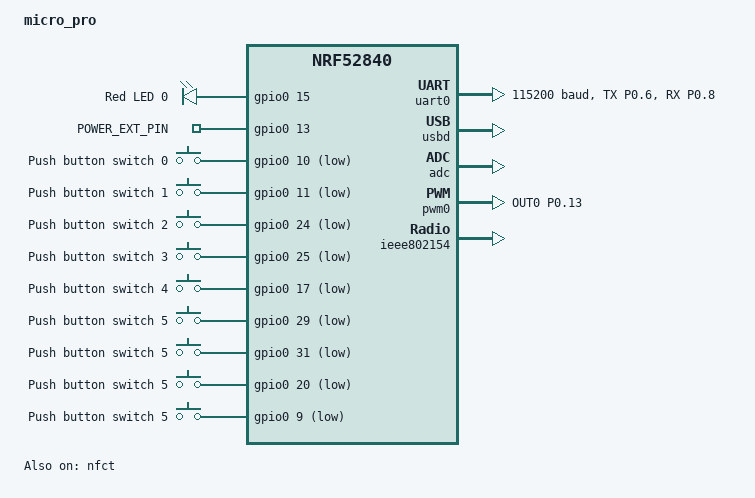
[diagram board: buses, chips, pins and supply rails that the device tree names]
/dts-v1/;

#include <nordic/nrf52840_qiaa.dtsi>
#include "pmicro-pinctrl.dtsi"

/ {
	model = "micro_pro";
	compatible = "micropro,pmicro";

	chosen {
		zephyr,sram = &sram0;
		zephyr,flash = &flash0;
		zephyr,code-partition = &slot0_partition;
		zephyr,console = &uart0;
	};
	leds {
		compatible = "gpio-leds";

		led0: led_0 {
			gpios = <&gpio0 15 GPIO_ACTIVE_HIGH>;
			label = "Red LED 0";
		};
		led1: led_1 {
			gpios = <&gpio0 13 GPIO_ACTIVE_HIGH>;
			label = "POWER_EXT_PIN";
		};
	};
	buttons {
		compatible = "gpio-keys";

		button0: button_0 {
			gpios = <&gpio0 10 (GPIO_PULL_UP | GPIO_ACTIVE_LOW)>;
			label = "Push button switch 0";
			zephyr,code = <INPUT_KEY_0>;
		};

		 button1: button_1 {
		 	gpios = <&gpio0 11 (GPIO_PULL_UP | GPIO_ACTIVE_LOW)>;
		 	label = "Push button switch 1";
		 	zephyr,code = <INPUT_KEY_1>;
		 };

		 button2: button_2 {
		 	gpios = <&gpio0 24 (GPIO_PULL_UP | GPIO_ACTIVE_LOW)>;
		 	label = "Push button switch 2";
		 	zephyr,code = <INPUT_KEY_2>;
		 };

		 button3: button_3 {
		 	gpios = <&gpio0 25 (GPIO_PULL_UP | GPIO_ACTIVE_LOW)>;
		 	label = "Push button switch 3";
		 	zephyr,code = <INPUT_KEY_3>;
		 };
		 button4: button_4 {
		 	gpios = <&gpio0 17 (GPIO_PULL_UP | GPIO_ACTIVE_LOW)>;
		 	label = "Push button switch 4";
		 	zephyr,code = <INPUT_KEY_4>;
		 };
		 button5: button_5 {
		 	gpios = <&gpio0 29 (GPIO_PULL_UP | GPIO_ACTIVE_LOW)>;
		 	label = "Push button switch 5";
		 	zephyr,code = <INPUT_KEY_5>;
		 };
		 button6: button_6 {
		 	gpios = <&gpio0 31 (GPIO_PULL_UP | GPIO_ACTIVE_LOW)>;
		 	label = "Push button switch 5";
		 	zephyr,code = <INPUT_KEY_6>;
		 };
		 button7: button_7 {
		 	gpios = <&gpio0 20 (GPIO_PULL_UP | GPIO_ACTIVE_LOW)>;
		 	label = "Push button switch 5";
		 	zephyr,code = <INPUT_KEY_6>;
		 };
		 button8: button_8 {
		 	gpios = <&gpio0 9 (GPIO_PULL_UP | GPIO_ACTIVE_LOW)>;
		 	label = "Push button switch 5";
		 	zephyr,code = <INPUT_KEY_6>;
		 };
	};
};

&flash0 {
	partitions {
		compatible = "fixed-partitions";
		#address-cells = <1>;
		#size-cells = <1>;

		boot_partition: partition@0 {
			label = "mcuboot";
			reg = <0x0 DT_SIZE_K(48)>;
		};

		slot0_partition: partition@c000 {
			label = "image-0";
			reg = <0xc000 DT_SIZE_K(472)>;
		};

		slot1_partition: partition@82000 {
			label = "image-1";
			reg = <0x82000 DT_SIZE_K(472)>;
		};

		storage_partition: partition@f8000 {
			label = "storage";
			reg = <0xf8000 DT_SIZE_K(32)>;
		};
	};
};
&uart0 {
	compatible = "nordic,nrf-uarte";
	status = "okay";
	current-speed = <115200>;
	pinctrl-0 = <&uart0_default>;
	pinctrl-1 = <&uart0_sleep>;
	pinctrl-names = "default", "sleep";
};

&gpio0 {
	status = "okay";
};

&gpio1 {
	status = "okay";
};

&usbd {
	status = "okay";
};

&spi1 {
	status = "disabled";
};

&spi3 {
	status = "disabled";
};

&pinctrl {
	uart0_default: uart0_default {
		group1 {
			psels = <NRF_PSEL(UART_TX, 0, 6)>, <NRF_PSEL(UART_RX, 0, 8)>;
		};
	};

	uart0_sleep: uart0_sleep {
		group1 {
			psels = <NRF_PSEL(UART_TX, 0, 6)>;
		};
	};

	i2c0_default: i2c0_default {
		group1 {
			psels = <NRF_PSEL(TWIM_SCL, 0, 26)>, <NRF_PSEL(TWIM_SDA, 0, 27)>;
		};
	};

	i2c0_sleep: i2c0_sleep {
		group1 {
			psels = <NRF_PSEL(TWIM_SCL, 0, 26)>;
		};
	};

	pwm0_default: pwm0_default {
		group1 {
			psels = <NRF_PSEL(PWM_OUT0, 0, 13)>;
		};
	};

	pwm0_sleep: pwm0_sleep {
		group1 {
			psels = <NRF_PSEL(PWM_OUT0, 0, 13)>;
		};
	};
};

&gpiote {
	status = "okay";
};

&adc {
	status = "okay";
};

&i2c0 {
	status = "disabled";
	pinctrl-0 = <&i2c0_default>;
	pinctrl-1 = <&i2c0_sleep>;
	pinctrl-names = "default", "sleep";
};

&nfct {
	status = "okay";
};

&pwm0 {
	status = "okay";
	pinctrl-0 = <&pwm0_default>;
	pinctrl-1 = <&pwm0_sleep>;
	pinctrl-names = "default", "sleep";
};

&ieee802154 {
	status = "okay";
};
